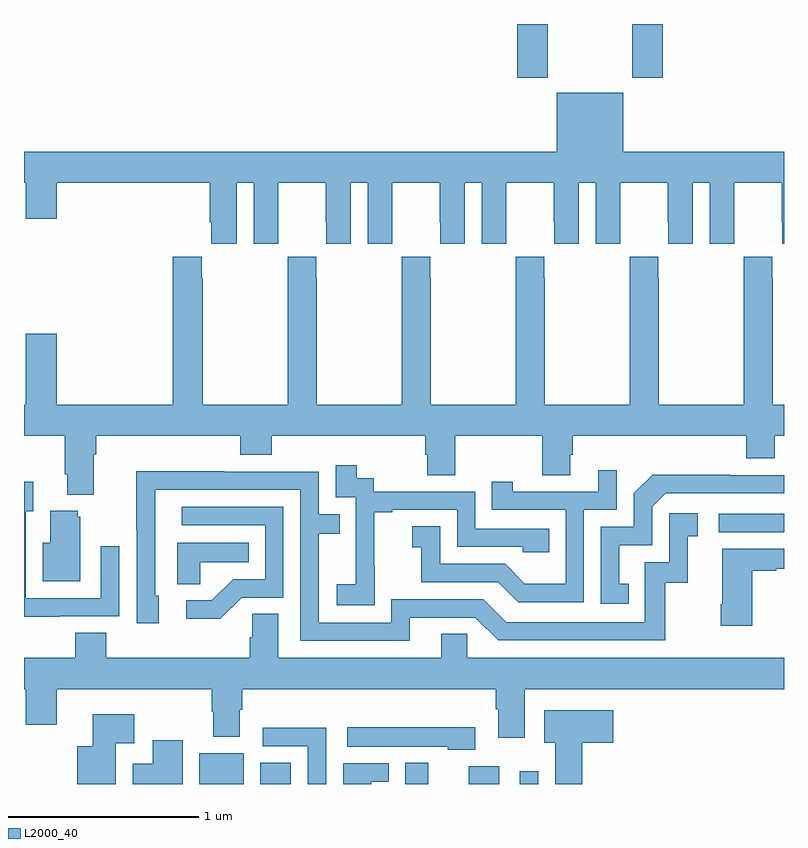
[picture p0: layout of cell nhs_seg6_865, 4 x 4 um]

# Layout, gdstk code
import gdstk
lib = gdstk.Library(unit=1e-6, precision=1e-09)
def R(c, l, rs):  # rectangles x0, y0, x1, y1
    for r in rs: c.add(gdstk.rectangle(r[:2], r[2:], *l))
def P(c, l, *ps):  # polygons
    for p in ps: c.add(gdstk.Polygon(p, *l))
L2000_40 = (2000, 40)

nhs_seg6_865 = lib.new_cell('nhs_seg6_865')
R(nhs_seg6_865, L2000_40, [(165.923,949.5,166.156,949.663), (166.244,949.5,166.405,949.613), (167.006,949.5,167.128,949.612), (167.342,949.5,167.5,949.594), (167.61,949.5,167.706,949.567), (168.657,950.826,169,950.922), (167.597,953.217,167.757,953.5), (168.202,953.217,168.362,953.5)])
P(nhs_seg6_865, L2000_40, [(166.12,952.664),(166.208,952.664),(166.208,952.344),(166.338,952.344),(166.338,952.456),(166.339,952.456),(166.339,952.664),(166.589,952.664),(166.589,952.456),(166.59,952.456),(166.59,952.344),(166.72,952.344),(166.72,952.664),(166.808,952.664),(166.808,952.344),(166.938,952.344),(166.938,952.456),(166.939,952.456),(166.939,952.664),(167.189,952.664),(167.189,952.456),(167.19,952.456),(167.19,952.344),(167.32,952.344),(167.32,952.664),(167.408,952.664),(167.408,952.344),(167.538,952.344),(167.538,952.456),(167.539,952.456),(167.539,952.664),(167.789,952.664),(167.789,952.456),(167.79,952.456),(167.79,952.344),(167.92,952.344),(167.92,952.664),(168.008,952.664),(168.008,952.344),(168.138,952.344),(168.138,952.456),(168.139,952.456),(168.139,952.664),(168.389,952.664),(168.389,952.456),(168.39,952.456),(168.39,952.344),(168.52,952.344),(168.52,952.664),(168.608,952.664),(168.608,952.344),(168.738,952.344),(168.738,952.456),(168.739,952.456),(168.739,952.664),(168.989,952.664),(168.989,952.456),(168.99,952.456),(168.99,952.344),(169,952.344),(169,952.828),(168.154,952.828),(168.154,953.137),(167.804,953.137),(167.804,952.828),(165,952.828),(165,952.664),(165.008,952.664),(165.008,952.476),(165.172,952.476),(165.172,952.664),(165.977,952.664),(165.977,952.456),(165.986,952.456),(165.986,952.344),(166.12,952.344)],
  [(165.942,952.163),(165.935,952.163),(165.935,952.276),(165.782,952.276),(165.782,951.496),(165.172,951.496),(165.172,951.871),(165.008,951.871),(165.008,951.496),(165,951.496),(165,951.332),(165.215,951.332),(165.215,951.13),(165.227,951.13),(165.227,951.023),(165.367,951.023),(165.367,951.236),(165.38,951.236),(165.38,951.332),(166.139,951.332),(166.139,951.233),(166.304,951.233),(166.304,951.332),(167.111,951.332),(167.111,951.234),(167.123,951.234),(167.123,951.124),(167.271,951.124),(167.271,951.332),(167.728,951.332),(167.728,951.124),(167.875,951.124),(167.875,951.234),(167.888,951.234),(167.888,951.332),(168.8,951.332),(168.8,951.215),(168.952,951.215),(168.952,951.332),(169,951.332),(169,951.496),(168.942,951.496),(168.942,952.163),(168.939,952.163),(168.939,952.276),(168.789,952.276),(168.789,952.163),(168.787,952.163),(168.787,951.496),(168.342,951.496),(168.342,952.163),(168.339,952.163),(168.339,952.276),(168.189,952.276),(168.189,952.163),(168.187,952.163),(168.187,951.496),(167.742,951.496),(167.742,952.163),(167.739,952.163),(167.739,952.276),(167.589,952.276),(167.589,952.163),(167.587,952.163),(167.587,951.496),(167.142,951.496),(167.142,952.163),(167.139,952.163),(167.139,952.276),(166.989,952.276),(166.989,952.163),(166.987,952.163),(166.987,951.496),(166.542,951.496),(166.542,952.163),(166.539,952.163),(166.539,952.276),(166.389,952.276),(166.389,952.163),(166.387,952.163),(166.387,951.496),(165.942,951.496)],
  [(166.845,950.647),(166.844,950.647),(166.844,950.931),(166.939,950.931),(166.939,950.943),(167.28,950.943),(167.28,950.748),(167.625,950.748),(167.625,950.721),(167.765,950.721),(167.765,950.844),(167.376,950.844),(167.376,951.039),(166.842,951.039),(166.842,951.108),(166.75,951.108),(166.75,951.178),(166.641,951.178),(166.641,951.009),(166.746,951.009),(166.746,950.78),(166.745,950.78),(166.745,950.551),(166.647,950.551),(166.647,950.441),(166.845,950.441)],
  [(167.946,950.943),(168.12,950.943),(168.12,951.151),(168.023,951.151),(168.023,951.039),(167.572,951.039),(167.572,951.091),(167.461,951.091),(167.461,950.943),(167.85,950.943),(167.85,950.554),(167.636,950.554),(167.532,950.658),(167.19,950.658),(167.19,950.857),(167.043,950.857),(167.043,950.747),(167.092,950.747),(167.092,950.562),(167.495,950.562),(167.6,950.457),(167.946,950.457)],
  [(167.029,950.376),(167.376,950.376),(167.496,950.256),(168.376,950.256),(168.376,950.559),(168.494,950.559),(168.494,950.805),(168.547,950.805),(168.547,950.926),(168.396,950.926),(168.396,950.667),(168.267,950.667),(168.267,950.352),(167.538,950.352),(167.418,950.472),(166.932,950.472),(166.932,950.349),(166.551,950.349),(166.551,950.818),(166.661,950.818),(166.661,950.919),(166.551,950.919),(166.551,951.144),(166.055,951.144),(166.055,951.146),(165.592,951.146),(165.592,950.839),(165.594,950.839),(165.594,950.346),(165.709,950.346),(165.709,950.49),(165.69,950.49),(165.69,951.048),(166.455,951.048),(166.455,950.253),(167.029,950.253)],
  [(168.182,950.553),(168.133,950.553),(168.133,950.757),(168.306,950.757),(168.306,950.958),(168.378,951.03),(169,951.03),(169,951.126),(168.716,951.126),(168.716,951.128),(168.308,951.128),(168.21,951.03),(168.21,950.853),(168.036,950.853),(168.036,950.448),(168.182,950.448)],
  [(165.185,950.382),(165.501,950.382),(165.501,950.752),(165.405,950.752),(165.405,950.478),(165.009,950.478),(165.009,950.935),(165.049,950.935),(165.049,951.091),(165,951.091),(165,950.381),(165.185,950.381)],
  [(166.146,950.481),(166.365,950.481),(166.365,950.958),(165.831,950.958),(165.831,950.862),(166.269,950.862),(166.269,950.577),(166.1,950.577),(165.989,950.466),(165.855,950.466),(165.855,950.369),(166.033,950.369)],
  [(165.295,950.907),(165.284,950.907),(165.284,950.938),(165.137,950.938),(165.137,950.77),(165.098,950.77),(165.098,950.567),(165.295,950.567)],
  [(165.927,950.666),(166.184,950.666),(166.184,950.77),(165.806,950.77),(165.806,950.551),(165.927,950.551)],
  [(168.832,950.623),(168.959,950.623),(168.959,950.633),(169,950.633),(169,950.737),(168.674,950.737),(168.674,950.446),(168.667,950.446),(168.667,950.334),(168.832,950.334)],
  [(167.635,950),(169,950),(169,950.164),(167.334,950.164),(167.334,950.291),(167.195,950.291),(167.195,950.164),(166.339,950.164),(166.339,950.396),(166.2,950.396),(166.2,950.273),(166.187,950.273),(166.187,950.164),(165.434,950.164),(165.434,950.297),(165.269,950.297),(165.269,950.164),(165,950.164),(165,950),(165.008,950),(165.008,949.812),(165.172,949.812),(165.172,950),(165.988,950),(165.988,949.88),(165.995,949.88),(165.995,949.748),(166.135,949.748),(166.135,949.891),(166.148,949.891),(166.148,950),(167.483,950),(167.483,949.894),(167.495,949.894),(167.495,949.743),(167.635,949.743)],
  [(167.939,949.718),(168.1,949.718),(168.1,949.888),(167.739,949.888),(167.739,949.718),(167.795,949.718),(167.795,949.5),(167.939,949.5)],
  [(165.484,949.715),(165.58,949.715),(165.58,949.867),(165.362,949.867),(165.362,949.699),(165.281,949.699),(165.281,949.5),(165.484,949.5)],
  [(167.374,949.798),(166.701,949.798),(166.701,949.697),(167.229,949.697),(167.229,949.679),(167.374,949.679)],
  [(166.59,949.796),(166.257,949.796),(166.257,949.698),(166.494,949.698),(166.494,949.5),(166.59,949.5)],
  [(165.835,949.729),(165.677,949.729),(165.677,949.606),(165.572,949.606),(165.572,949.5),(165.835,949.5)],
  [(166.828,949.512),(166.921,949.512),(166.921,949.608),(166.679,949.608),(166.679,949.5),(166.828,949.5)])

lib.write_gds('nhs_seg6_865.gds')
